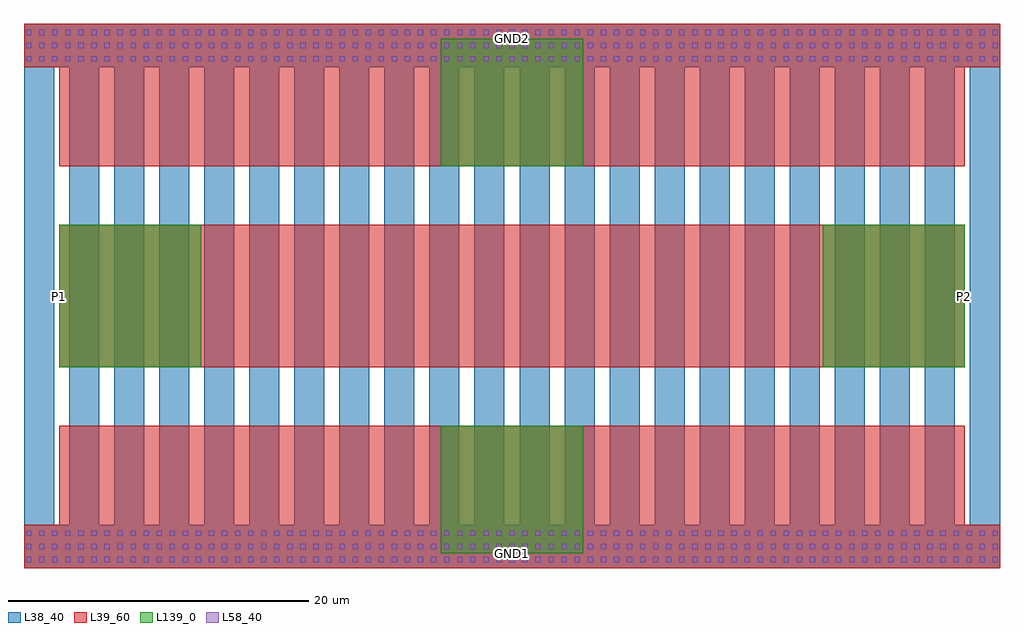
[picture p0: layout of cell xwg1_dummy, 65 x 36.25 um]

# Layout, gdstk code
import gdstk
lib = gdstk.Library(unit=1e-6, precision=1e-09)
def R(c, l, rs):  # rectangles x0, y0, x1, y1
    for r in rs: c.add(gdstk.rectangle(r[:2], r[2:], *l))
def A(c, l, x, y, w, h, nx, ny, dx, dy):  # array of equal rectangles
    R(c, l, [(x+i*dx, y+j*dy, x+i*dx+w, y+j*dy+h) for i in range(nx) for j in range(ny)])
L38_40 = (38, 40)
L39_60 = (39, 60)
L58_40 = (58, 40)
L139_0 = (139, 0)

xwg1_dummy = lib.new_cell('xwg1_dummy')
A(xwg1_dummy, L38_40, -2.335, -13.39, 2, 36.25, 22, 1, 3, 0)
R(xwg1_dummy, L38_40, [(-2.335,-13.39,62.665,-10.49), (-2.335,19.96,62.665,22.86)])
R(xwg1_dummy, L39_60, [(-2.335,-13.39,62.665,-10.49), (0,-12.39,60.33,-3.92), (0,0,60.33,9.47), (0,13.39,60.33,21.86), (-2.335,19.96,62.665,22.86)])
A(xwg1_dummy, L58_40, -2.2, -12.985, 0.35, 0.35, 75, 3, 0.87, 0.87)
A(xwg1_dummy, L58_40, -2.2, 20.365, 0.35, 0.35, 75, 3, 0.87, 0.87)
R(xwg1_dummy, L139_0, [(25.43,-12.39,34.9,-3.92), (0,0,9.47,9.47), (50.86,0,60.33,9.47), (25.43,13.39,34.9,21.86)])
xwg1_dummy.add(gdstk.Label('GND1', (30.165,-12.39), layer=139, texttype=0))
xwg1_dummy.add(gdstk.Label('GND2', (30.165,21.86), layer=139, texttype=0))
xwg1_dummy.add(gdstk.Label('P1', (0,4.735), layer=139, texttype=0))
xwg1_dummy.add(gdstk.Label('P2', (60.33,4.735), layer=139, texttype=0))

lib.write_gds('xwg1_dummy.gds')
